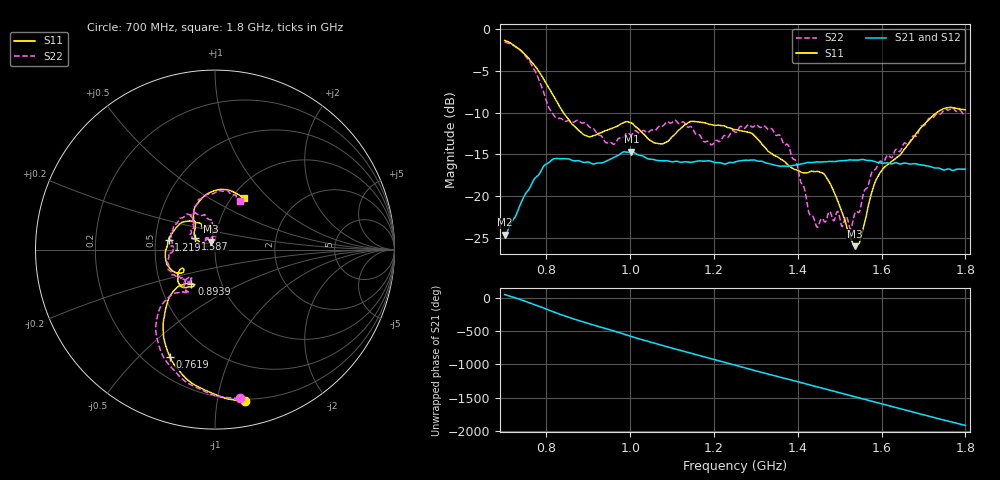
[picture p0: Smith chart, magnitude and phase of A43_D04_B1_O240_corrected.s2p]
! Created with skrf 1.9.0 (http://scikit-rf.org).
# Hz S RI R 50.0
!freq ReS11 ImS11 ReS21 ImS21 ReS12 ImS12 ReS22 ImS22
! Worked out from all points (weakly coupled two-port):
!   1601 points, 700 MHz to 1.8 GHz, reference 50 ohm
!   highest |S21| = -14.66 dB at 1.002 GHz (marker M1); lowest = -24.6 dB at 700 MHz (marker M2)
!   lowest |S11| = -26.0 dB at 1.536 GHz (marker M3), VSWR 1.11, Z = 47.7 + j4.29 ohm
!   |S11| at or under -10 dB: 840.4 MHz to 1.731 GHz (890.7 MHz wide, 69.3 % of centre)
!   |S22| runs from -24.0 to -1.5 dB; largest |S21 - S12| = 0.0034
!   S11 on the Smith chart (normalised r, x): 700 MHz: 0.19, -1.20; 761.9 MHz: 0.30, -0.62; 893.9 MHz: 0.72, -0.29; 1.219 GHz: 0.59, +0.07; 1.587 GHz: 0.80, +0.10; 1.8 GHz: 1.13, +0.73
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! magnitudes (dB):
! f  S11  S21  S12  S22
! 700 MHz  -1.3  -24.6  -24.4  -1.5
! 761.9 MHz  -3.8  -18.8  -18.8  -4.0
! 818.9 MHz  -8.1  -15.5  -15.6  -10.4
! 883.6 MHz  -12.4  -15.9  -15.8  -11.2
! 893.9 MHz  -12.7  -15.9  -16.0  -11.2
! 944.1 MHz  -12.1  -15.8  -15.8  -13.6
! 1.002 GHz  -11.2  -14.7  -14.8  -12.6
! 1.067 GHz  -13.7  -15.7  -15.7  -11.7
! 1.144 GHz  -11.1  -16.0  -15.9  -11.7
! 1.219 GHz  -11.6  -16.1  -16.1  -13.1
! 1.25 GHz  -12.0  -15.9  -15.8  -12.3
! 1.357 GHz  -15.5  -16.4  -16.4  -12.7
! 1.396 GHz  -16.8  -16.3  -16.3  -15.8
! 1.434 GHz  -17.0  -16.0  -15.9  -22.3
! 1.474 GHz  -18.2  -15.8  -15.9  -21.9
! 1.526 GHz  -25.0  -15.7  -15.7  -24.0
! 1.536 GHz  -26.0  -15.7  -15.7  -22.1
! 1.55 GHz  -25.2  -15.6  -15.6  -21.4
! 1.587 GHz  -18.0  -15.9  -15.9  -16.7
! 1.617 GHz  -16.1  -16.1  -16.0  -15.1
! 1.733 GHz  -9.9  -16.6  -16.6  -10.1
! 1.8 GHz  -9.6  -16.8  -16.8  -10.3
